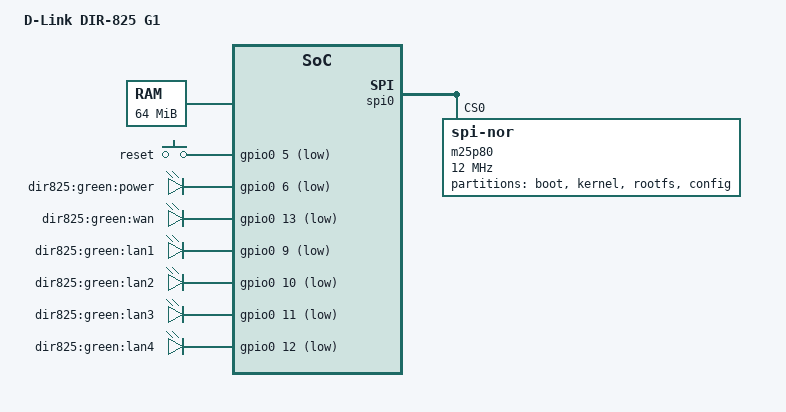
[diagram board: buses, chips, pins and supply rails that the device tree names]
// SPDX-License-Identifier: GPL-2.0
/dts-v1/;

#include "RTL819X.dtsi"

#include <dt-bindings/gpio/gpio.h>
#include <dt-bindings/input/input.h>

/ {
	compatible = "D-Link,dir-825-g1", "realtek,rtl819x-soc";
	model = "D-Link DIR-825 G1";

	cpus {
		cpu@0 {
			compatible = "realtek,rlx5281";
		};
	};

	memory {
		device_type = "memory";
		reg = <0x0 0x4000000>;
	};

	chosen {
		bootargs = "console=ttyS0,115200";
	};

	gpio-keys-polled {
		compatible = "gpio-keys-polled";
		#address-cells = <1>;
		#size-cells = <0>;
		poll-interval = <20>;

		reset {
			label = "reset";
			gpios = <&gpio0 5 GPIO_ACTIVE_LOW>;
			linux,code = <KEY_RESTART>;
		};
	};

	gpio-leds {
		compatible = "gpio-leds";

		power {
			label = "dir825:green:power";
			gpios = <&gpio0 6 GPIO_ACTIVE_LOW>;
		};

		wan {
			label = "dir825:green:wan";
			gpios = <&gpio0 13 GPIO_ACTIVE_LOW>;
		};

		lan1 {
			label = "dir825:green:lan1";
			gpios = <&gpio0 9 GPIO_ACTIVE_LOW>;
		};

		lan2 {
			label = "dir825:green:lan2";
			gpios = <&gpio0 10 GPIO_ACTIVE_LOW>;
		};

		lan3 {
			label = "dir825:green:lan3";
			gpios = <&gpio0 11 GPIO_ACTIVE_LOW>;
		};

		lan4 {
			label = "dir825:green:lan4";
			gpios = <&gpio0 12 GPIO_ACTIVE_LOW>;
		};
	};
};

&gpio0 {
	status = "okay";
};

&spi0 {
	status = "okay";

	m25p80@0 {
		#address-cells = <1>;
		#size-cells = <1>;
		compatible = "jedec,spi-nor";
		reg = <0>;
		spi-max-frequency = <12000000>;

		partition@0 {
			label = "boot";
			reg = <0x0 0x30000>;
			read-only;
		};

		kernel: partition@30000 {
			label = "kernel";
			reg = <0x30000 0x1A2D00>;
		};

		partition@1D2D00 {
			label = "rootfs";
			reg = <0x1D2D00 0x60D300>;
		};

		config: partition@7E0000 {
			label = "config";
			reg = <0x7E0000 0x20000>;
			read-only;
		};

		firmware@30000 {
			label = "firmware";
			reg = <0x30000 0x7B0000>;
		};
	};
};
